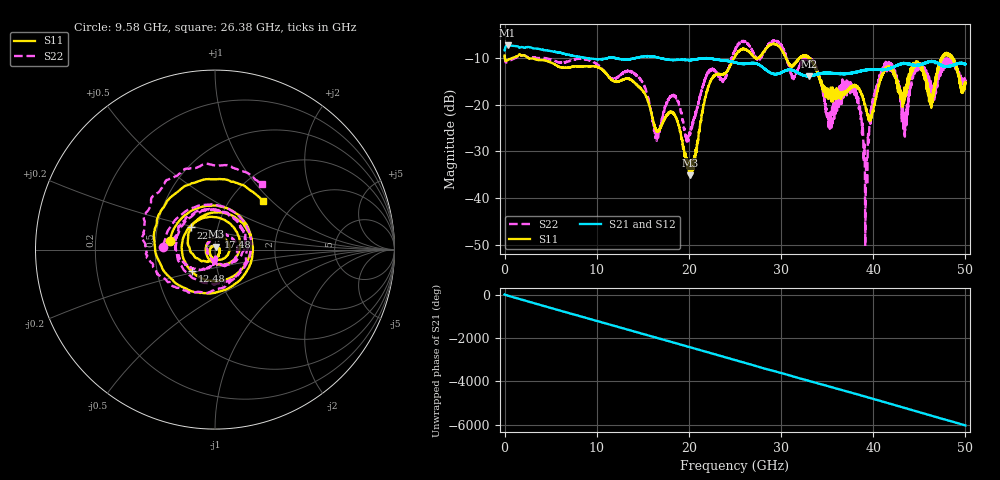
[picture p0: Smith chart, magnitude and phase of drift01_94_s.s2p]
!Created with skrf (http://scikit-rf.org).
# Hz S RI R 50.0
!freq ReS11 ImS11 ReS21 ImS21 ReS12 ImS12 ReS22 ImS22
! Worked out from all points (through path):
!   10001 points, 300 kHz to 50 GHz, reference 50 ohm
!   highest |S21| = -7.33 dB at 325.3 MHz (marker M1); lowest = -14.0 dB at 33.02 GHz (marker M2)
!   group delay of S21, straight-line fit = 335 ps
!   lowest |S11| = -35.2 dB at 20.17 GHz (marker M3), VSWR 1.04, Z = 50.8 + j1.59 ohm
!   |S11| at or under -10 dB: 2.552 GHz to 24.92 GHz (22.37 GHz wide, 163 % of centre); 30.52 GHz to 32.02 GHz (1.494 GHz wide, 4.78 % of centre); 33.07 GHz to 47.44 GHz (14.37 GHz wide, 35.7 % of centre) (the widest 3 of 22)
!   |S22| runs from -50.3 to -6.3 dB; largest |S21 - S12| = 0.0089
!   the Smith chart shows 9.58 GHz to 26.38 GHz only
!   S11 on the Smith chart (normalised r, x): 9.58 GHz: 0.59, +0.06; 12.48 GHz: 0.75, -0.19; 17.48 GHz: 1.02, +0.15; 22.39 GHz: 0.74, +0.19; 26.38 GHz: 1.41, +0.88
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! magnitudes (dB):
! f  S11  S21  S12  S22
! 300 kHz  -9.5  -8.4  -8.5  -9.5
! 325.3 MHz  -10.5  -7.3  -7.3  -10.9
! 8.335 GHz  -11.8  -9.8  -9.9  -10.2
! 9.58 GHz  -11.8  -10.2  -10.2  -10.8
! 12.48 GHz  -15.0  -10.3  -10.3  -13.8
! 16.67 GHz  -25.7  -9.9  -9.9  -27.1
! 17.48 GHz  -22.7  -10.3  -10.3  -20.5
! 20.17 GHz  -35.2  -10.4  -10.5  -25.9
! 22.39 GHz  -14.8  -10.2  -10.2  -12.5
! 25 GHz  -9.6  -11.0  -11.0  -8.3
! 26.38 GHz  -8.4  -11.3  -11.2  -6.9
! 33.02 GHz  -9.9  -14.0  -13.8  -10.1
! 33.34 GHz  -10.7  -13.8  -13.7  -10.6
! 35.23 GHz  -17.0  -13.3  -13.2  -22.7
! 37.97 GHz  -15.8  -13.1  -13.1  -17.5
! 39.17 GHz  -20.7  -12.6  -12.6  -41.6
! 40.14 GHz  -20.0  -12.4  -12.4  -17.6
! 41.67 GHz  -12.1  -12.3  -12.3  -11.7
! 43.45 GHz  -16.9  -11.3  -11.3  -25.6
! 44.88 GHz  -11.1  -11.6  -11.6  -11.8
! 46.25 GHz  -19.1  -10.7  -10.8  -16.8
! 50 GHz  -15.6  -11.3  -11.3  -14.9
